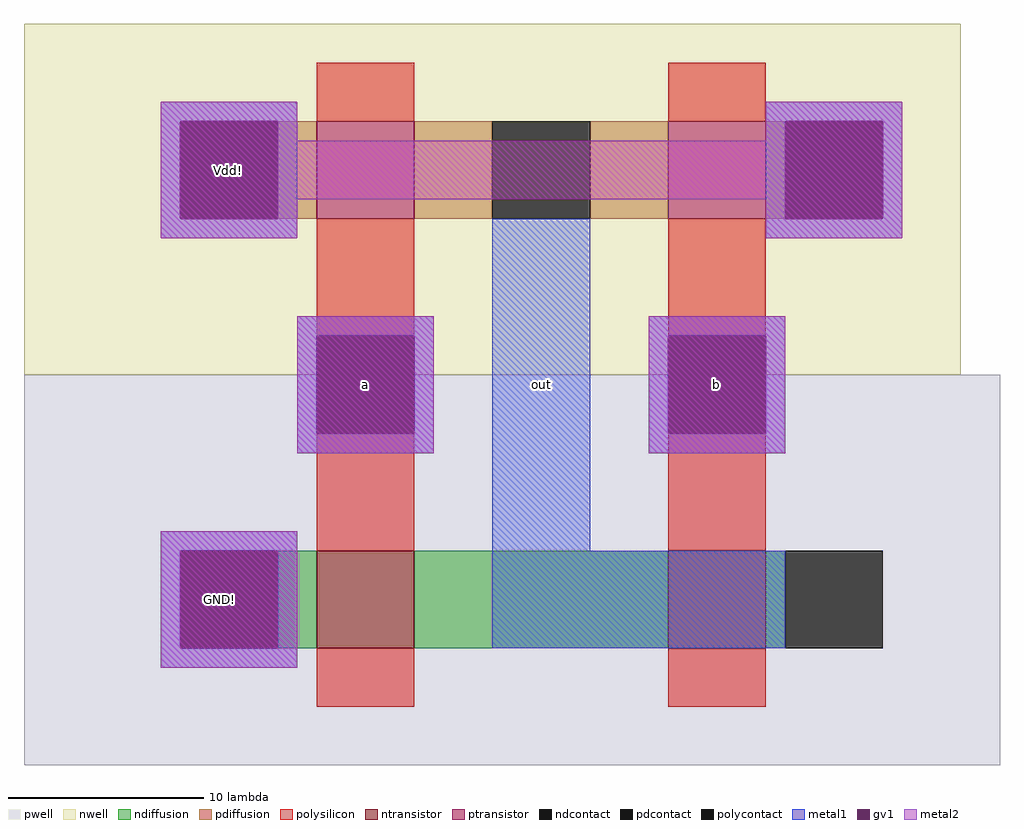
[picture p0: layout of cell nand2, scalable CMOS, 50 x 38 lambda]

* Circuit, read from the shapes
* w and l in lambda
.subckt nand2 GND! Vdd! a b out
M1 n1 a GND! VSUBS nfet w=5 l=5
M2 out b n1 VSUBS nfet w=5 l=5
M3 out a Vdd! n2 pfet w=5 l=5
M4 Vdd! b out n2 pfet w=5 l=5
.ends

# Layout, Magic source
magic
tech scmos
<< nwell >>
rect -20 -2 28 16
<< pwell >>
rect -20 -22 30 -2
<< ntransistor >>
rect -5 -16 0 -11
rect 13 -16 18 -11
<< ptransistor >>
rect -5 6 0 11
rect 13 6 18 11
<< ndiffusion >>
rect -7 -16 -5 -11
rect 0 -16 13 -11
rect 18 -16 19 -11
<< pdiffusion >>
rect -7 6 -5 11
rect 0 6 4 11
rect 9 6 13 11
rect 18 6 19 11
<< ndcontact >>
rect -12 -16 -7 -11
rect 19 -16 24 -11
<< pdcontact >>
rect -12 6 -7 11
rect 4 6 9 11
rect 19 6 24 11
<< polysilicon >>
rect -5 11 0 14
rect 13 11 18 14
rect -5 0 0 6
rect -5 -11 0 -5
rect 13 0 18 6
rect 13 -11 18 -5
rect -5 -19 0 -16
rect 13 -19 18 -16
<< polycontact >>
rect -5 -5 0 0
rect 13 -5 18 0
<< metal1 >>
rect -13 11 -6 12
rect 18 11 25 12
rect -13 6 -12 11
rect -7 6 -6 11
rect -13 5 -6 6
rect -6 0 1 1
rect -6 -5 -5 0
rect 0 -5 1 0
rect -6 -6 1 -5
rect -13 -11 -6 -10
rect -13 -16 -12 -11
rect -7 -16 -6 -11
rect 4 -11 9 6
rect 18 6 19 11
rect 24 6 25 11
rect 18 5 25 6
rect 12 0 19 1
rect 12 -5 13 0
rect 18 -5 19 0
rect 12 -6 19 -5
rect 4 -16 19 -11
rect -13 -17 -6 -16
<< metal2 >>
rect -13 10 -6 12
rect 18 10 25 12
rect -13 7 25 10
rect -13 5 -6 7
rect 18 5 25 7
rect -6 -6 1 1
rect 12 -6 19 1
rect -13 -17 -6 -10
<< gv1 >>
rect -12 6 -7 11
rect 19 6 24 11
rect -5 -5 0 0
rect 13 -5 18 0
rect -12 -16 -7 -11
<< labels >>
rlabel pdcontact -10 8 -9 9 1 Vdd!
rlabel polycontact -3 -3 -2 -2 1 a
rlabel gv1 -11 -14 -9 -13 1 GND!
rlabel metal1 6 -3 7 -2 1 out
rlabel polycontact 15 -3 16 -2 1 b
<< end >>
